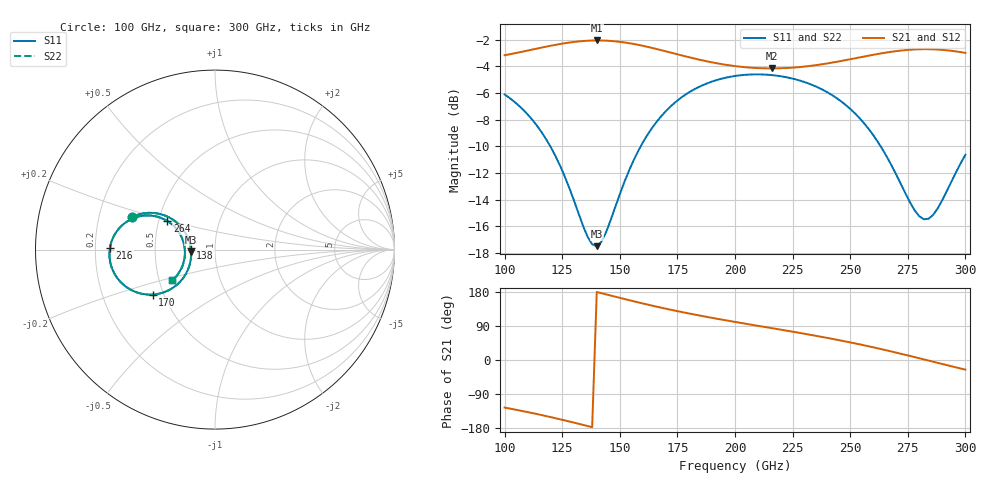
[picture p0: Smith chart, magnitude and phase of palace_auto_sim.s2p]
#  GHZ S DB R 50
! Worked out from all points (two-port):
!   101 points, 100 GHz to 300 GHz, reference 50 ohm
!   highest |S21| = -2.05 dB at 140 GHz (marker M1); lowest = -4.1 dB at 216 GHz (marker M2)
!   |S21| within 3 dB of the highest: start of sweep to end of sweep
!   lowest |S11| = -17.5 dB at 140 GHz (marker M3), VSWR 1.31, Z = 38.3 - j1.05 ohm
!   |S11| at or under -10 dB: 119.8 GHz to 159.1 GHz (39.23 GHz wide, 28.1 % of centre); 263.2 GHz to end of sweep
!   |S22| runs from -17.5 to -4.6 dB; largest |S21 - S12| = 8.4e-14
!   S11 on the Smith chart (normalised r, x): 100 GHz: 0.35, +0.17; 138 GHz: 0.76, +0.02; 170 GHz: 0.43, -0.27; 216 GHz: 0.26, +0.01; 264 GHz: 0.56, +0.20; 300 GHz: 0.58, -0.22
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100  -6.10 158.3  -3.16 -125.5  -3.16 -125.5  -6.11 158.3
118  -9.45 145.7  -2.52 -148.0  -2.52 -148.0  -9.46 145.7
126  -12.21 145.2  -2.26 -159.2  -2.26 -159.2  -12.22 145.1
134  -15.94 158.1  -2.09 -171.2  -2.09 -171.2  -15.96 158.1
138  -17.34 175.1  -2.06 -177.4  -2.06 -177.4  -17.37 175.1
140  -17.49 -174.2  -2.05 179.5  -2.05 179.5  -17.51 -174.2
144  -16.46 -155.1  -2.07 173.3  -2.07 173.3  -16.48 -155.0
152  -12.67 -138.5  -2.20 161.0  -2.20 161.0  -12.67 -138.4
160  -9.71 -138.1  -2.45 149.2  -2.45 149.2  -9.71 -138.1
168  -7.73 -142.8  -2.78 138.0  -2.78 138.0  -7.73 -142.7
170  -7.35 -144.3  -2.87 135.4  -2.87 135.4  -7.35 -144.2
184  -5.57 -155.6  -3.47 118.1  -3.47 118.1  -5.57 -155.6
200  -4.72 -168.6  -3.97 100.5  -3.97 100.5  -4.72 -168.6
216  -4.65 179.0  -4.15 84.0  -4.15 84.0  -4.65 179.0
234  -5.42 165.5  -3.93 65.1  -3.93 65.1  -5.42 165.5
250  -7.18 154.3  -3.46 46.4  -3.46 46.4  -7.19 154.2
264  -10.21 149.1  -3.00 28.0  -3.00 28.0  -10.23 148.9
268  -11.45 150.1  -2.90 22.3  -2.90 22.3  -11.47 150.0
278  -14.80 166.2  -2.73 7.6  -2.73 7.6  -14.85 166.1
284  -15.43 -172.8  -2.71 -1.5  -2.71 -1.5  -15.49 -172.7
288  -14.65 -159.6  -2.73 -7.6  -2.73 -7.6  -14.70 -159.4
300  -10.62 -144.3  -2.98 -25.4  -2.98 -25.4  -10.64 -144.1
